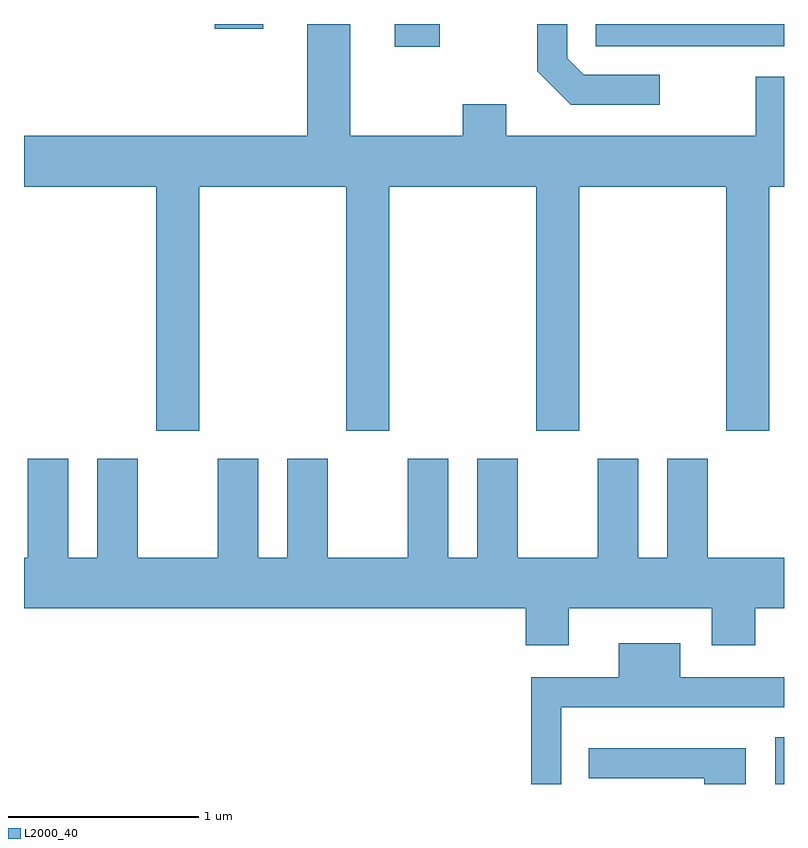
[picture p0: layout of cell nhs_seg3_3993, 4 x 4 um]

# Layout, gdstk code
import gdstk
lib = gdstk.Library(unit=1e-6, precision=1e-09)
def R(c, l, rs):  # rectangles x0, y0, x1, y1
    for r in rs: c.add(gdstk.rectangle(r[:2], r[2:], *l))
def P(c, l, *ps):  # polygons
    for p in ps: c.add(gdstk.Polygon(p, *l))
L2000_40 = (2000, 40)

nhs_seg3_3993 = lib.new_cell('nhs_seg3_3993')
R(nhs_seg3_3993, L2000_40, [(305.566,1213.892,305.611,1214.139), (303.561,1217.771,303.798,1217.892), (304.621,1217.776,305.611,1217.892), (302.616,1217.866,302.869,1217.892)])
P(nhs_seg3_3993, L2000_40, [(302.534,1217.036),(303.306,1217.036),(303.306,1215.751),(303.534,1215.751),(303.534,1217.036),(304.306,1217.036),(304.306,1215.751),(304.534,1215.751),(304.534,1217.036),(305.306,1217.036),(305.306,1215.751),(305.534,1215.751),(305.534,1217.036),(305.611,1217.036),(305.611,1217.614),(305.461,1217.614),(305.461,1217.304),(304.149,1217.304),(304.149,1217.469),(303.921,1217.469),(303.921,1217.304),(303.329,1217.304),(303.329,1217.892),(303.101,1217.892),(303.101,1217.304),(301.611,1217.304),(301.611,1217.036),(302.306,1217.036),(302.306,1215.751),(302.534,1215.751)],
  [(304.958,1217.624),(304.557,1217.624),(304.469,1217.712),(304.469,1217.892),(304.311,1217.892),(304.311,1217.644),(304.489,1217.466),(304.958,1217.466)],
  [(303.996,1215.604),(303.996,1215.084),(303.844,1215.084),(303.844,1215.604),(303.631,1215.604),(303.631,1215.084),(303.209,1215.084),(303.209,1215.604),(302.996,1215.604),(302.996,1215.084),(302.844,1215.084),(302.844,1215.604),(302.631,1215.604),(302.631,1215.084),(302.209,1215.084),(302.209,1215.604),(301.996,1215.604),(301.996,1215.084),(301.844,1215.084),(301.844,1215.604),(301.631,1215.604),(301.631,1215.084),(301.611,1215.084),(301.611,1214.816),(304.251,1214.816),(304.251,1214.621),(304.479,1214.621),(304.479,1214.816),(305.231,1214.816),(305.231,1214.621),(305.459,1214.621),(305.459,1214.816),(305.611,1214.816),(305.611,1215.084),(305.209,1215.084),(305.209,1215.604),(304.996,1215.604),(304.996,1215.084),(304.844,1215.084),(304.844,1215.604),(304.631,1215.604),(304.631,1215.084),(304.209,1215.084),(304.209,1215.604)],
  [(304.439,1214.296),(305.611,1214.296),(305.611,1214.454),(305.064,1214.454),(305.064,1214.634),(304.741,1214.634),(304.741,1214.454),(304.281,1214.454),(304.281,1213.892),(304.439,1213.892)],
  [(305.409,1214.079),(304.583,1214.079),(304.583,1213.921),(305.191,1213.921),(305.191,1213.892),(305.409,1213.892)])

lib.write_gds('nhs_seg3_3993.gds')
